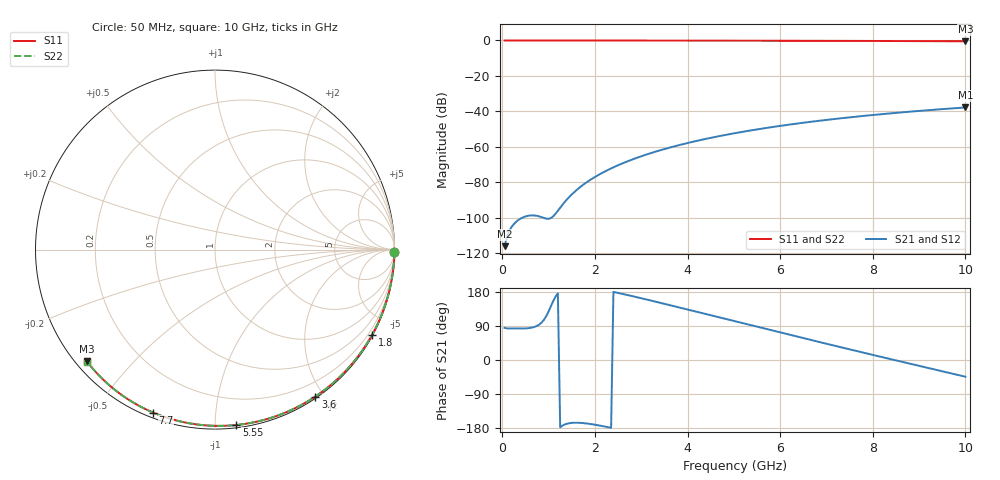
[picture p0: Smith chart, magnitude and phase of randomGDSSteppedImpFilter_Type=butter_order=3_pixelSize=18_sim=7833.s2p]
! freq	dB(S11)	phase(S11)	dB(S12)	phase(S12)
!  dB(S21)	phase(S21)	dB(S22)	phase(S22)
!S-par simulation data
#  GHz  S  DB  R 50
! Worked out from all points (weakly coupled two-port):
!   200 points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, 50 MHz to 10 GHz, reference 50 ohm
!   highest |S21| = -37.82 dB at 10 GHz (marker M1); lowest = -116.1 dB at 50 MHz (marker M2)
!   lowest |S11| = -0.5 dB at 10 GHz (marker M3), VSWR 36.90, Z = 1.54 - j18.7 ohm
!   |S11| at or under -10 dB: nowhere
!   |S22| runs from -0.5 to 0.0 dB; largest |S21 - S12| = 0
!   S11 on the Smith chart (normalised r, x): 50 MHz: open; 1.8 GHz: 0.03, -3.94; 3.6 GHz: 0.02, -1.89; 5.55 GHz: 0.02, -1.13; 7.7 GHz: 0.02, -0.69; 10 GHz: 0.03, -0.37
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0.05  -0.00 -0.8  -116.12 84.8  -116.12 84.8  -0.00 -0.8
0.45  -0.01 -7.2  -99.83 83.1  -99.83 83.1  -0.01 -7.2
0.9  -0.02 -14.4  -100.22 106.2  -100.22 106.2  -0.02 -14.4
1.75  -0.04 -27.7  -81.40 -166.6  -81.40 -166.6  -0.04 -27.7
1.8  -0.04 -28.5  -80.46 -167.2  -80.46 -167.2  -0.04 -28.5
1.85  -0.04 -29.3  -79.56 -168.0  -79.56 -168.0  -0.04 -29.2
2.05  -0.04 -32.4  -76.31 -171.8  -76.31 -171.8  -0.04 -32.3
2.25  -0.05 -35.4  -73.49 -176.5  -73.49 -176.5  -0.05 -35.4
2.55  -0.05 -40.0  -69.87 175.7  -69.87 175.7  -0.05 -40.0
2.95  -0.06 -46.1  -65.83 164.5  -65.83 164.5  -0.06 -46.0
3.4  -0.07 -52.7  -62.05 151.3  -62.05 151.3  -0.07 -52.7
3.6  -0.07 -55.7  -60.57 145.3  -60.57 145.3  -0.07 -55.6
3.9  -0.08 -60.0  -58.53 136.2  -58.53 136.2  -0.08 -60.0
4.3  -0.09 -65.8  -56.09 124.1  -56.09 124.1  -0.09 -65.7
5.05  -0.12 -76.2  -52.20 101.4  -52.20 101.4  -0.12 -76.1
5.55  -0.14 -83.0  -50.00 86.2  -50.00 86.2  -0.14 -82.9
6.1  -0.16 -90.4  -47.85 69.7  -47.85 69.7  -0.16 -90.3
6.7  -0.19 -98.2  -45.79 51.7  -45.79 51.7  -0.19 -98.1
7.7  -0.25 -110.8  -42.86 22.2  -42.86 22.2  -0.25 -110.7
8.35  -0.30 -118.9  -41.23 3.3  -41.23 3.3  -0.30 -118.7
9.2  -0.38 -129.2  -39.35 -21.2  -39.35 -21.2  -0.38 -129.1
10  -0.47 -138.9  -37.82 -44.0  -37.82 -44.0  -0.47 -138.8
